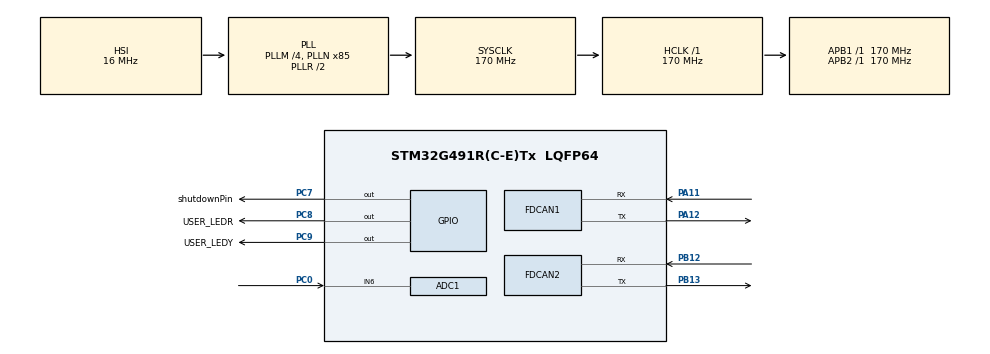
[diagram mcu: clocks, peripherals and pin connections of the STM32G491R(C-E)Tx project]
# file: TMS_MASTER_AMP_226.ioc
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ADC1.Channel-1\#ChannelRegularConversion=ADC_CHANNEL_6
ADC1.NbrOfConversionFlag=1
ADC1.OffsetNumber-1\#ChannelRegularConversion=ADC_OFFSET_NONE
ADC1.Rank-1\#ChannelRegularConversion=1
ADC1.SamplingTime-1\#ChannelRegularConversion=ADC_SAMPLETIME_247CYCLES_5
ADC1.master=1
Dma.ADC1.0.Direction=DMA_PERIPH_TO_MEMORY
Dma.ADC1.0.EventEnable=DISABLE
Dma.ADC1.0.Instance=DMA1_Channel1
Dma.ADC1.0.MemDataAlignment=DMA_MDATAALIGN_HALFWORD
Dma.ADC1.0.MemInc=DMA_MINC_ENABLE
Dma.ADC1.0.Mode=DMA_CIRCULAR
Dma.ADC1.0.PeriphDataAlignment=DMA_PDATAALIGN_HALFWORD
Dma.ADC1.0.PeriphInc=DMA_PINC_DISABLE
Dma.ADC1.0.Polarity=HAL_DMAMUX_REQ_GEN_RISING
Dma.ADC1.0.Priority=DMA_PRIORITY_LOW
Dma.ADC1.0.RequestNumber=1
Dma.ADC1.0.SignalID=NONE
Dma.ADC1.0.SyncEnable=DISABLE
Dma.ADC1.0.SyncPolarity=HAL_DMAMUX_SYNC_NO_EVENT
Dma.ADC1.0.SyncRequestNumber=1
Dma.ADC1.0.SyncSignalID=NONE
Dma.Request0=ADC1
FDCAN1.CalculateBaudRateNominal=499999
FDCAN1.CalculateTimeBitNominal=2000
FDCAN1.CalculateTimeQuantumNominal=58.82352941176471
FDCAN1.NominalPrescaler=10
FDCAN1.NominalTimeSeg1=26
FDCAN1.NominalTimeSeg2=7
FDCAN2.CalculateBaudRateNominal=499999
FDCAN2.CalculateTimeBitNominal=2000
FDCAN2.CalculateTimeQuantumNominal=58.82352941176471
FDCAN2.ExtFiltersNbr=1
FDCAN2.NominalPrescaler=10
FDCAN2.NominalTimeSeg1=26
FDCAN2.NominalTimeSeg2=7
FREERTOS.Tasks01=xSendCAN,24,128,xSendCANFunction,Default,NULL,Dynamic,NULL,NULL;xCheckComms,8,128,xCheckCommsFuncion,Default,NULL,Dynamic,NULL,NULL;xReadTemp,8,128,xReadTempFunction,Default,NULL,Dynamic,NULL,NULL
Mcu.Family=STM32G4
Mcu.Name=STM32G491R(C-E)Tx
Mcu.Package=LQFP64
NVIC.ADC1_2_IRQn=true\:5\:0\:false\:false\:true\:true\:true\:true\:true
NVIC.DMA1_Channel1_IRQn=true\:5\:0\:false\:false\:true\:true\:false\:true\:true
NVIC.FDCAN1_IT0_IRQn=true\:5\:0\:false\:false\:true\:true\:true\:true\:true
NVIC.FDCAN1_IT1_IRQn=true\:5\:0\:false\:false\:true\:true\:true\:true\:true
NVIC.FDCAN2_IT0_IRQn=true\:5\:0\:false\:false\:true\:true\:true\:true\:true
NVIC.FDCAN2_IT1_IRQn=true\:5\:0\:false\:false\:true\:true\:true\:true\:true
NVIC.PriorityGroup=NVIC_PRIORITYGROUP_4
NVIC.TIM7_IRQn=true\:15\:0\:false\:false\:true\:false\:false\:true\:true
NVIC.TimeBase=TIM7_IRQn
NVIC.TimeBaseIP=TIM7
PA11.Mode=FDCAN_Activate
PA11.Signal=FDCAN1_RX
PA12.Mode=FDCAN_Activate
PA12.Signal=FDCAN1_TX
PA13.GPIO_Label=T_SWDIO
PA13.Mode=Serial_Wire
PA13.Signal=SYS_JTMS-SWDIO
PA14.GPIO_Label=T_SWCLK
PA14.Mode=Serial_Wire
PA14.Signal=SYS_JTCK-SWCLK
PB12.Mode=FDCAN_Activate
PB12.Signal=FDCAN2_RX
PB13.Mode=FDCAN_Activate
PB13.Signal=FDCAN2_TX
PC0.Mode=IN6-Single-Ended
PC0.Signal=ADC1_IN6
PC7.GPIO_Label=shutdownPin
PC7.Signal=GPIO_Output
PC8.GPIO_Label=USER_LEDR
PC8.Signal=GPIO_Output
PC9.GPIO_Label=USER_LEDY
PC9.Signal=GPIO_Output
ProjectManager.HeapSize=0x200
ProjectManager.StackSize=0x400
ProjectManager.TargetToolchain=STM32CubeIDE
RCC.ADC12Freq_Value=170000000
RCC.ADC345Freq_Value=170000000
RCC.AHBFreq_Value=170000000
RCC.APB1Freq_Value=170000000
RCC.APB1TimFreq_Value=170000000
RCC.APB2Freq_Value=170000000
RCC.APB2TimFreq_Value=170000000
RCC.CortexFreq_Value=170000000
RCC.EXTERNAL_CLOCK_VALUE=12288000
RCC.HCLKFreq_Value=170000000
RCC.HSE_VALUE=24000000
RCC.HSI48_VALUE=48000000
RCC.HSI_VALUE=16000000
RCC.LSE_VALUE=32768
RCC.PLLM=RCC_PLLM_DIV4
RCC.PLLN=85
RCC.RTCClockSelection=RCC_RTCCLKSOURCE_LSE
RCC.SYSCLKFreq_VALUE=170000000
RCC.SYSCLKSource=RCC_SYSCLKSOURCE_PLLCLK
RCC.USBFreq_Value=48000000
RCC.VCOOutputFreq_Value=340000000
VP_FREERTOS_VS_CMSIS_V2.Mode=CMSIS_V2
VP_SYS_VS_DBSignals.Mode=DisableDeadBatterySignals
VP_SYS_VS_tim7.Mode=TIM7
board=NUCLEO-G491RE

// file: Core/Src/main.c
/* USER CODE BEGIN Header */
/**
  ******************************************************************************
  * @file           : main.c
  * @brief          : Main program body
  ******************************************************************************
  * @attention
  *
  * Copyright (c) 2025 STMicroelectronics.
  * All rights reserved.
  *
  * This software is licensed under terms that can be found in the LICENSE file
  * in the root directory of this software component.
  * If no LICENSE file comes with this software, it is provided AS-IS.
  *
  ******************************************************************************
  */
/* USER CODE END Header */
#include "main.h"
#include "cmsis_os.h"

/* USER CODE BEGIN Includes */
#include "can.h"
#include "errors.h"
#include "adc.h"
#include <stdbool.h>
#include "bms_temp_est.h"
#include <math.h>
#include <string.h>
/* USER CODE END Includes */

ADC_HandleTypeDef hadc1;
DMA_HandleTypeDef hdma_adc1;

FDCAN_HandleTypeDef hfdcan1;
FDCAN_HandleTypeDef hfdcan2;

/* Definitions for xSendCAN */
osThreadId_t xSendCANHandle;
const osThreadAttr_t xSendCAN_attributes = {
  .name = "xSendCAN",
  .priority = (osPriority_t) osPriorityNormal,
  .stack_size = 128 * 4
};
/* Definitions for xCheckComms */
osThreadId_t xCheckCommsHandle;
const osThreadAttr_t xCheckComms_attributes = {
  .name = "xCheckComms",
  .priority = (osPriority_t) osPriorityLow,
  .stack_size = 128 * 4
};
/* Definitions for xReadTemp */
osThreadId_t xReadTempHandle;
const osThreadAttr_t xReadTemp_attributes = {
  .name = "xReadTemp",
  .priority = (osPriority_t) osPriorityLow,
  .stack_size = 128 * 4
};
/* USER CODE BEGIN PV */
osMutexId_t tempBufferMutexHandle;
const osMutexAttr_t tempBufferMutex_attributes = {.name = "tempBufferMutex"};

uint8_t FDCAN1RxData[8]; //slaves
FDCAN_RxHeaderTypeDef FDCAN1RxHeader;
uint8_t FDCAN1TxData[8];
FDCAN_TxHeaderTypeDef FDCAN1TxHeader;

uint8_t FDCAN2RxData[8]; //slaves
FDCAN_RxHeaderTypeDef FDCAN2RxHeader;
uint8_t FDCAN2TxData[8];
FDCAN_TxHeaderTypeDef FDCAN2TxHeader;

CAN_RxMsg_t lastRx1Msg;
CAN_TxStatus_t lastTx1Status = CAN_TX_OK;

CAN_RxMsg_t lastRx2Msg;
CAN_TxStatus_t lastTx2Status = CAN_TX_OK;

extern volatile int tmsErrorCode;

extern float slaveTempBuffers[numberOfSlaves][thermistorsRecieved];

extern uint32_t slaveLastMessageTicks[numberOfSlaves];

float maxSentTemps[4] = {0};

uint32_t rawAdcBuffer[numberOfThermistors] = {0};
extern uint16_t filteredAdcBuffer[numberOfThermistors];
float voltageBuffer[numberOfThermistors] = {0}, tempBuffer[numberOfThermistors] = {0};

float bmsVoltage, bmsCurrent;
float cellMaxVoltage, cellMinVoltage, cellAvgVoltage;
uint32_t bmsProtectionFlags;
bool bmsSafetyFlag;
int bmsCANError, chargerSOC;
bmsTempEstState cellTempEstimators[40];
float debugEstimatedTemps[40] = {0};
float emusCellVolts[40] = {0};
/* USER CODE END PV */

void SystemClock_Config(void);
static void MX_GPIO_Init(void);
static void MX_DMA_Init(void);
static void MX_FDCAN1_Init(void);
static void MX_FDCAN2_Init(void);
static void MX_ADC1_Init(void);
void xSendCANFunction(void *argument);
void xCheckCommsFuncion(void *argument);
void xReadTempFunction(void *argument);

/* USER CODE BEGIN PFP */
void HAL_FDCAN_RxFifo0Callback(FDCAN_HandleTypeDef *hfdcan, uint32_t RxFifo0ITs);
void HAL_FDCAN_RxFifo1Callback(FDCAN_HandleTypeDef *hfdcan, uint32_t RxFifo1ITs);
void HAL_ADC_ConvCpltCallback(ADC_HandleTypeDef *hadc);
/* USER CODE END PFP */

int main(void)
{

  /* MCU Configuration--------------------------------------------------------*/

  /* Reset of all peripherals, Initializes the Flash interface and the Systick. */
  HAL_Init();

  /* Configure the system clock */
  SystemClock_Config();

  /* Initialize all configured peripherals */
  MX_GPIO_Init();
  MX_DMA_Init();
  MX_FDCAN1_Init();
  MX_FDCAN2_Init();
  /* eu sou gay */
  MX_ADC1_Init();
  /* USER CODE BEGIN 2 */
  for (int c = 0; c < 40; c++) {
      bmsTempEstInit(&cellTempEstimators[c]);
  }
  HAL_GPIO_WritePin(GPIOC, GPIO_PIN_7, RESET);

  /* USER CODE END 2 */

  /* Init scheduler */
  osKernelInitialize();

  /* USER CODE BEGIN RTOS_MUTEX */
  /* add mutexes, ... */
  tempBufferMutexHandle = osMutexNew(&tempBufferMutex_attributes);
  /* USER CODE END RTOS_MUTEX */

  /* Create the thread(s) */
  /* creation of xSendCAN */
  xSendCANHandle = osThreadNew(xSendCANFunction, NULL, &xSendCAN_attributes);

  /* creation of xCheckComms */
  xCheckCommsHandle = osThreadNew(xCheckCommsFuncion, NULL, &xCheckComms_attributes);

  /* creation of xReadTemp */
  xReadTempHandle = osThreadNew(xReadTempFunction, NULL, &xReadTemp_attributes);

  /* Start scheduler */
  osKernelStart();

  /* We should never get here as control is now taken by the scheduler */

  /* Infinite loop */
  while (1)
  {

  }
}

void SystemClock_Config(void)
{
  RCC_OscInitTypeDef RCC_OscInitStruct = {0};
  RCC_ClkInitTypeDef RCC_ClkInitStruct = {0};

  /** Configure the main internal regulator output voltage
  */
  HAL_PWREx_ControlVoltageScaling(PWR_REGULATOR_VOLTAGE_SCALE1_BOOST);

  /** Initializes the RCC Oscillators according to the specified parameters
  * in the RCC_OscInitTypeDef structure.
  */
  RCC_OscInitStruct.OscillatorType = RCC_OSCILLATORTYPE_HSI;
  RCC_OscInitStruct.HSIState = RCC_HSI_ON;
  RCC_OscInitStruct.HSICalibrationValue = RCC_HSICALIBRATION_DEFAULT;
  RCC_OscInitStruct.PLL.PLLState = RCC_PLL_ON;
  RCC_OscInitStruct.PLL.PLLSource = RCC_PLLSOURCE_HSI;
  RCC_OscInitStruct.PLL.PLLM = RCC_PLLM_DIV4;
  RCC_OscInitStruct.PLL.PLLN = 85;
  RCC_OscInitStruct.PLL.PLLP = RCC_PLLP_DIV2;
  RCC_OscInitStruct.PLL.PLLQ = RCC_PLLQ_DIV2;
  RCC_OscInitStruct.PLL.PLLR = RCC_PLLR_DIV2;
  if (HAL_RCC_OscConfig(&RCC_OscInitStruct) != HAL_OK)
  {
    Error_Handler();
  }

  /** Initializes the CPU, AHB and APB buses clocks
  */
  RCC_ClkInitStruct.ClockType = RCC_CLOCKTYPE_HCLK|RCC_CLOCKTYPE_SYSCLK
                              |RCC_CLOCKTYPE_PCLK1|RCC_CLOCKTYPE_PCLK2;
  RCC_ClkInitStruct.SYSCLKSource = RCC_SYSCLKSOURCE_PLLCLK;
  RCC_ClkInitStruct.AHBCLKDivider = RCC_SYSCLK_DIV1;
  RCC_ClkInitStruct.APB1CLKDivider = RCC_HCLK_DIV1;
  RCC_ClkInitStruct.APB2CLKDivider = RCC_HCLK_DIV1;

  if (HAL_RCC_ClockConfig(&RCC_ClkInitStruct, FLASH_LATENCY_4) != HAL_OK)
  {
    Error_Handler();
  }
}

static void MX_ADC1_Init(void)
{

  ADC_MultiModeTypeDef multimode = {0};
  ADC_ChannelConfTypeDef sConfig = {0};

  /** Common config
  */
  hadc1.Instance = ADC1;
  hadc1.Init.ClockPrescaler = ADC_CLOCK_SYNC_PCLK_DIV4;
  hadc1.Init.Resolution = ADC_RESOLUTION_12B;
  hadc1.Init.DataAlign = ADC_DATAALIGN_RIGHT;
  hadc1.Init.GainCompensation = 0;
  hadc1.Init.ScanConvMode = ADC_SCAN_DISABLE;
  hadc1.Init.EOCSelection = ADC_EOC_SINGLE_CONV;
  hadc1.Init.LowPowerAutoWait = DISABLE;
  hadc1.Init.ContinuousConvMode = DISABLE;
  hadc1.Init.NbrOfConversion = 1;
  hadc1.Init.DiscontinuousConvMode = DISABLE;
  hadc1.Init.ExternalTrigConv = ADC_SOFTWARE_START;
  hadc1.Init.ExternalTrigConvEdge = ADC_EXTERNALTRIGCONVEDGE_NONE;
  hadc1.Init.DMAContinuousRequests = DISABLE;
  hadc1.Init.Overrun = ADC_OVR_DATA_PRESERVED;
  hadc1.Init.OversamplingMode = DISABLE;
  if (HAL_ADC_Init(&hadc1) != HAL_OK)
  {
    Error_Handler();
  }

  /** Configure the ADC multi-mode
  */
  multimode.Mode = ADC_MODE_INDEPENDENT;
  if (HAL_ADCEx_MultiModeConfigChannel(&hadc1, &multimode) != HAL_OK)
  {
    Error_Handler();
  }

  /** Configure Regular Channel
  */
  sConfig.Channel = ADC_CHANNEL_6;
  sConfig.Rank = ADC_REGULAR_RANK_1;
  sConfig.SamplingTime = ADC_SAMPLETIME_247CYCLES_5;
  sConfig.SingleDiff = ADC_SINGLE_ENDED;
  sConfig.OffsetNumber = ADC_OFFSET_NONE;
  sConfig.Offset = 0;
  if (HAL_ADC_ConfigChannel(&hadc1, &sConfig) != HAL_OK)
  {
    Error_Handler();
  }

}

static void MX_FDCAN1_Init(void)
{

  hfdcan1.Instance = FDCAN1;
  hfdcan1.Init.ClockDivider = FDCAN_CLOCK_DIV1;
  hfdcan1.Init.FrameFormat = FDCAN_FRAME_CLASSIC;
  hfdcan1.Init.Mode = FDCAN_MODE_NORMAL;
  hfdcan1.Init.AutoRetransmission = DISABLE;
  hfdcan1.Init.TransmitPause = DISABLE;
  hfdcan1.Init.ProtocolException = DISABLE;
  hfdcan1.Init.NominalPrescaler = 10;
  hfdcan1.Init.NominalSyncJumpWidth = 1;
  hfdcan1.Init.NominalTimeSeg1 = 26;
  hfdcan1.Init.NominalTimeSeg2 = 7;
  hfdcan1.Init.DataPrescaler = 1;
  hfdcan1.Init.DataSyncJumpWidth = 1;
  hfdcan1.Init.DataTimeSeg1 = 1;
  hfdcan1.Init.DataTimeSeg2 = 1;
  hfdcan1.Init.StdFiltersNbr = 0;
  hfdcan1.Init.ExtFiltersNbr = 0;
  hfdcan1.Init.TxFifoQueueMode = FDCAN_TX_FIFO_OPERATION;
  if (HAL_FDCAN_Init(&hfdcan1) != HAL_OK)
  {
    Error_Handler();
  }
  /* USER CODE BEGIN FDCAN1_Init 2 */

  FDCAN_FilterTypeDef sFilterConfig;

  sFilterConfig.IdType = FDCAN_STANDARD_ID;
  sFilterConfig.FilterIndex = 0;
  sFilterConfig.FilterType = FDCAN_FILTER_MASK;
  sFilterConfig.FilterConfig = FDCAN_FILTER_TO_RXFIFO0;
  sFilterConfig.FilterID1 = 0;
  sFilterConfig.FilterID2 = 0;

  if (HAL_FDCAN_ConfigFilter(&hfdcan1, &sFilterConfig) != HAL_OK) {
	  Error_Handler();
  }

  HAL_FDCAN_ActivateNotification(&hfdcan1, FDCAN_IT_RX_FIFO0_NEW_MESSAGE, 0);
  HAL_FDCAN_Start(&hfdcan1);

#ifdef testLoopbackCAN1
  FDCAN1TxHeader.FDFormat = FDCAN_CLASSIC_CAN;
  FDCAN1TxHeader.IdType = FDCAN_STANDARD_ID;
  FDCAN1TxHeader.BitRateSwitch = FDCAN_BRS_OFF;
#endif
  /* USER CODE END FDCAN1_Init 2 */

}

static void MX_FDCAN2_Init(void)
{

  hfdcan2.Instance = FDCAN2;
  hfdcan2.Init.ClockDivider = FDCAN_CLOCK_DIV1;
  hfdcan2.Init.FrameFormat = FDCAN_FRAME_CLASSIC;
  hfdcan2.Init.Mode = FDCAN_MODE_NORMAL;
  hfdcan2.Init.AutoRetransmission = DISABLE;
  hfdcan2.Init.TransmitPause = DISABLE;
  hfdcan2.Init.ProtocolException = DISABLE;
  hfdcan2.Init.NominalPrescaler = 10;
  hfdcan2.Init.NominalSyncJumpWidth = 1;
  hfdcan2.Init.NominalTimeSeg1 = 26;
  hfdcan2.Init.NominalTimeSeg2 = 7;
  hfdcan2.Init.DataPrescaler = 1;
  hfdcan2.Init.DataSyncJumpWidth = 1;
  hfdcan2.Init.DataTimeSeg1 = 1;
  hfdcan2.Init.DataTimeSeg2 = 1;
  hfdcan2.Init.StdFiltersNbr = 0;
  hfdcan2.Init.ExtFiltersNbr = 1;
  hfdcan2.Init.TxFifoQueueMode = FDCAN_TX_FIFO_OPERATION;
  if (HAL_FDCAN_Init(&hfdcan2) != HAL_OK)
  {
    Error_Handler();
  }
  /* USER CODE BEGIN FDCAN2_Init 2 */

  FDCAN_FilterTypeDef sFilterConfig2;

  sFilterConfig2.IdType = FDCAN_EXTENDED_ID;
  sFilterConfig2.FilterIndex = 0;
  sFilterConfig2.FilterType = FDCAN_FILTER_MASK;
  sFilterConfig2.FilterConfig = FDCAN_FILTER_TO_RXFIFO1;
  sFilterConfig2.FilterID1 = 0;
  sFilterConfig2.FilterID2 = 0;

  if (HAL_FDCAN_ConfigFilter(&hfdcan2, &sFilterConfig2) != HAL_OK) {
	  Error_Handler();
  }

//  FDCAN_FilterTypeDef sStdFilterConfig2;
//
//  sStdFilterConfig2.IdType = FDCAN_STANDARD_ID;
//  sStdFilterConfig2.FilterIndex = 0;
//  sStdFilterConfig2.FilterType = FDCAN_FILTER_MASK;
//  sStdFilterConfig2.FilterConfig = FDCAN_FILTER_TO_RXFIFO1;
//  sStdFilterConfig2.FilterID1 = 0;
//  sStdFilterConfig2.FilterID2 = 0;
//
//  if (HAL_FDCAN_ConfigFilter(&hfdcan2, &sStdFilterConfig2) != HAL_OK) {
//	  Error_Handler();
//  }

  HAL_FDCAN_ActivateNotification(&hfdcan2, FDCAN_IT_RX_FIFO1_NEW_MESSAGE, 0);

  HAL_FDCAN_Start(&hfdcan2);

  /* Note: FDCAN2TxHeader global no longer used — every TX site builds its own
   * local FDCAN_TxHeaderTypeDef (see can.c::initCan2TxHeader + Error_Handler). */
  /* USER CODE END FDCAN2_Init 2 */

}

static void MX_DMA_Init(void)
{

  /* DMA controller clock enable */
  __HAL_RCC_DMAMUX1_CLK_ENABLE();
  __HAL_RCC_DMA1_CLK_ENABLE();

  /* DMA interrupt init */
  /* DMA1_Channel1_IRQn interrupt configuration */
  HAL_NVIC_SetPriority(DMA1_Channel1_IRQn, 5, 0);
  HAL_NVIC_EnableIRQ(DMA1_Channel1_IRQn);

}

static void MX_GPIO_Init(void)
{
  GPIO_InitTypeDef GPIO_InitStruct = {0};

  /* GPIO Ports Clock Enable */
  __HAL_RCC_GPIOC_CLK_ENABLE();
  __HAL_RCC_GPIOB_CLK_ENABLE();
  __HAL_RCC_GPIOA_CLK_ENABLE();

  /*Configure GPIO pin Output Level */
  HAL_GPIO_WritePin(GPIOC, shutdownPin_Pin|USER_LEDR_Pin|USER_LEDY_Pin, GPIO_PIN_RESET);

  /*Configure GPIO pins : shutdownPin_Pin USER_LEDR_Pin USER_LEDY_Pin */
  GPIO_InitStruct.Pin = shutdownPin_Pin|USER_LEDR_Pin|USER_LEDY_Pin;
  GPIO_InitStruct.Mode = GPIO_MODE_OUTPUT_PP;
  GPIO_InitStruct.Pull = GPIO_NOPULL;
  GPIO_InitStruct.Speed = GPIO_SPEED_FREQ_LOW;
  HAL_GPIO_Init(GPIOC, &GPIO_InitStruct);

}

/* USER CODE BEGIN 4 */
/**
 * @brief  Callback for FDCAN1 (Slave Network) RX FIFO 0.
 * Directly processes incoming standard ID messages from slaves.
 */
void HAL_FDCAN_RxFifo0Callback(FDCAN_HandleTypeDef *hfdcan, uint32_t RxFifo0ITs) {
	if (hfdcan->Instance == FDCAN1) {
		if ((RxFifo0ITs & FDCAN_IT_RX_FIFO0_NEW_MESSAGE) != RESET) {
			/* Retrieve message from hardware FIFO */
			if (HAL_FDCAN_GetRxMessage(hfdcan, FDCAN_RX_FIFO0, &FDCAN1RxHeader,
					FDCAN1RxData) == HAL_OK) {
				receiveCANFromSlaves(); // Process slave data immediately
			}
		}
	}
}

/**
 * @brief  Callback for FDCAN2 (General Bus) RX FIFO 1.
 * Processes incoming extended ID messages for telemetry and control.
 */
void HAL_FDCAN_RxFifo1Callback(FDCAN_HandleTypeDef *hfdcan, uint32_t RxFifo1ITs) {
	if (hfdcan->Instance == FDCAN2) {
		if ((RxFifo1ITs & FDCAN_IT_RX_FIFO1_NEW_MESSAGE) != RESET) {
			/* Retrieve message from hardware FIFO */
			if (HAL_FDCAN_GetRxMessage(hfdcan, FDCAN_RX_FIFO1, &FDCAN2RxHeader,
					FDCAN2RxData) == HAL_OK) {
				receiveCANFromGeral(); // Update global telemetry state
			}
		}
	}
}

/**
 * @brief  Callback for ADC DMA completion.
 * Triggers the xReadTemp task to process simulations if enabled.
 */
void HAL_ADC_ConvCpltCallback(ADC_HandleTypeDef *hadc){
#ifdef simulateSlave
	BaseType_t xHigherPriorityTaskWoken = pdFALSE;
	vTaskNotifyGiveFromISR(xReadTempHandle, &xHigherPriorityTaskWoken);
	portYIELD_FROM_ISR(xHigherPriorityTaskWoken);
#endif
}
/* USER CODE END 4 */

void xSendCANFunction(void *argument)
{
  /* USER CODE BEGIN 5 */
  static uint8_t estOvertempCounter = 0;

  /* This task manages periodic status transmission and fault checking (10Hz) */
  for(;;)
  {
	  memset(maxSentTemps, 0, sizeof(maxSentTemps));
	  bool anyEstOvertempThisCycle = false;

	  for(int m = 0; m < 4; m++){
		  float ntc_max = 0.0f;
		  // Coleta temperatura max física lida do slave caso ele exista e esteja online
		  taskENTER_CRITICAL();
		  bool local_online = slaveOnline[m];
		  float local_slaveTemps[thermistorsRecieved];
		  if(local_online) memcpy(local_slaveTemps, slaveTempBuffers[m], sizeof(local_slaveTemps));
		  taskEXIT_CRITICAL();
		  if(m < numberOfSlaves && local_online){
		  	  ntc_max = findMaxVal(local_slaveTemps);
		  }

		  /* Fault injection (scrutineering): força ntc_max ANTES do check de overtemp.
		   * Arme via Live Expressions: simulateHighTemp = 1 (true). Funciona mesmo
		   * com slave offline. Flui pra maxSentTemps -> aparece no CAN2 também. */
		  injectFault(&ntc_max);

		  // Coleta a estimada via Arrhenius-R_DC (Pega a pior dentre as 10 células do módulo)
		  float est_module_max = 0.0f;
		  for(int subCell = 0; subCell < 10; subCell++){
		      int c_idx = (m * 10) + subCell;
		      if (bmsTempEstIsValid(&cellTempEstimators[c_idx])) {
			      float cTemp = bmsTempEstGetTemp(&cellTempEstimators[c_idx]);
			      if (cTemp > est_module_max) {
			          est_module_max = cTemp;
			      }
		      }
		  }

		  // Funde as temperaturas extraindo a pior possível daquele módulo
		  maxSentTemps[m] = fmaxf(ntc_max, est_module_max);

		  // Verificação Isolada de Over-Temperature - NTC dispara instantaneamente
		  if(HAL_GetTick() > 3000){
		  if(ntc_max > maxTemperatureThresholdNTC) {
			  taskENTER_CRITICAL();
			  tmsErrorCode |= overTemperatureFault;
			  taskEXIT_CRITICAL();
			  HAL_GPIO_WritePin(GPIOC, GPIO_PIN_7, SET);
			  HAL_GPIO_WritePin(GPIOC, GPIO_PIN_9, SET);
//			  Error_Handler(); // Trigger Safety Shutdown
		  }
		  }
		  // Levanta a flag temporária se a estimada violar o teto neste pulso
		  if(est_module_max > maxTemperatureThresholdEst) {
		      anyEstOvertempThisCycle = true;
		  }
	  }

	  // Avalia o debounce (Filtro contra falsas medições estocásticas do logaritmo)
	  if(anyEstOvertempThisCycle) {
          estOvertempCounter++;
          if (estOvertempCounter >= 10) { // Persistiu quente por mais de 10 leituras contínuas (1 segundo)
              taskENTER_CRITICAL();
              tmsErrorCode |= overTemperatureFaultEst;
              taskEXIT_CRITICAL();
              /* Overtemp ESTIMADA: só sinaliza a flag, SEM halt (recuperável). */
          }
      } else {
          estOvertempCounter = 0; // Se a anomalia esfriar/desaparecer antes de 1s, zera o contador
          taskENTER_CRITICAL();
          tmsErrorCode &= ~overTemperatureFaultEst; // limpa sozinho ao normalizar
          taskEXIT_CRITICAL();
      }

	  /* Send Master status and maximum temperatures to CAN2 */
	  sendMasterInfoToCAN(maxSentTemps, tmsErrorCode);

#ifdef testLoopbackCAN1
	  /* Generate artificial slave traffic if loopback testing is enabled */
	  simulateSlaveBurst(0, 0);
#endif

#ifdef testLoopbackCAN2
	  /* Generate artificial inverter traffic if loopback testing is enabled */
	  simulateInverterBurst();
#endif

	  /* (fault injection movido pra dentro do loop, sobre ntc_max, ANTES do
	   * check de overtemp — ver injectFault(&ntc_max) acima.) */

	  /* Visual heartbeat for OS health */
	  HAL_GPIO_TogglePin(GPIOC, USER_LEDR_Pin);
    osDelay(100);
  }
  /* USER CODE END 5 */
}

void xCheckCommsFuncion(void *argument)
{
  /* USER CODE BEGIN xCheckCommsFuncion */
	/* This task monitors the heartbeat/communication state of all slaves (100Hz)
     * e também atua como base de tempo rápida para estimar a Temperatura Interna. */
	static uint32_t atualTick = 0;
  for(;;)
  {
	  atualTick = HAL_GetTick();

	  /* Atualiza o SOC em base decimal (0.0 a 1.0) usando o dado numérico bruto (ex: 0 a 100%) */
	  // Usa clamp logico entre 0.0 e 1.0
	  float s_soc = ((float)chargerSOC) / 100.0f;
	  if(s_soc < 0.0f) s_soc = 0.0f;
	  if(s_soc > 1.0f) s_soc = 1.0f;

	  for(int c = 0; c < 40; c++){
		  bmsTempEstSetSoc(&cellTempEstimators[c], s_soc);
	  }

	  /* Alimenta o algoritmo (espera Tensao da Celula e Corrente da Célula)
	   * O Pack da Ampera 226 possui 8 paralelos. O bmsCurrent global precisa ser
	   * fracionado (bmsCurrent / 8.0f) para o estimador processar a calibração de uma célula unitária P28A.
	   * Módulo da corrente: estima igual em descarga e regen (o sinal se cancela
	   * no R_DC = |dV/dI| de qualquer forma). Obs.: degrau que cruza o zero
	   * (regen<->descarga simétrico) deixa de ser visto como pulso.
	   */
	  taskENTER_CRITICAL();
	  float local_bmsCurrent = bmsCurrent;
	  float local_avgVolt    = cellAvgVoltage;   /* média do pack (CANSplitterID2) */
	  taskEXIT_CRITICAL();

	  float cellCurrent = fabsf(local_bmsCurrent) / 8.0f;

	  /* Todas as estimadas usam a MESMA tensão (average) e corrente: a média é
	   * menos ruidosa que a leitura individual e o dV do degrau é coletivo. */
	  for(int c = 0; c < 40; c++){
		  // Filtro profilático, não injeta zero-volts
		  if(local_avgVolt > 1.0f) {
		      bmsTempEstFeedSample(&cellTempEstimators[c], cellCurrent, local_avgVolt);
		  }

		  if(bmsTempEstIsValid(&cellTempEstimators[c])) {
		      debugEstimatedTemps[c] = bmsTempEstGetTemp(&cellTempEstimators[c]);
		  } else {
		      debugEstimatedTemps[c] = 25.0f; // Mock warm state
		  }
	  }

	  /* Verify that each slave has sent data within the last 2 seconds */
	  taskENTER_CRITICAL();
	  tmsErrorCode &= ~commFault;
	  taskEXIT_CRITICAL();
	  for(int i = 0; i < numberOfSlaves; i++){
		  if(atualTick - slaveLastMessageTicks[i] > 2000){
			  taskENTER_CRITICAL();
			  tmsErrorCode |= commFault;
			  /* Slave calado: marca offline para o envio parar de usar a
			   * temperatura VELHA que ficou no slaveTempBuffers. Sem isto o
			   * master seguia transmitindo o ultimo valor como se fosse atual. */
			  slaveOnline[i] = false;
			  HAL_GPIO_WritePin(GPIOC, GPIO_PIN_7, SET);
			  HAL_GPIO_WritePin(GPIOC, GPIO_PIN_9, SET);
			  taskEXIT_CRITICAL();
		  }
	  }
    osDelay(10); // Check frequency: 100Hz
  }
  /* USER CODE END xCheckCommsFuncion */
}

void xReadTempFunction(void *argument)
{
  /* USER CODE BEGIN xReadTempFunction */
	/* This task simulates external ADC readings if simulateSlave is enabled */
	static bool filtersInitialized = false;

	for(;;)
	{
#ifdef simulateSlave
		/* Initiate high-speed ADC sampling via DMA */
		HAL_ADC_Start_DMA(&hadc1, (uint32_t *)rawAdcBuffer, numberOfThermistors);

		/* Wait for DMA completion signal from ISR */
		ulTaskNotifyTake(pdTRUE, portMAX_DELAY);

		HAL_ADC_Stop_DMA(&hadc1);

		/* Ensure DSP filter buffers are seeded on first run */
		if (!filtersInitialized) {
			initTemperatureFilters(rawAdcBuffer);
			filtersInitialized = true;
		}

		/* Perform signal processing for all 16 simulated channels */
		bool anyThermFault = false;
		for (int i = 0; i < numberOfThermistors; i++) {

			/* Step 1: Median Filter (Window 3) — Spikes elimination */
			uint16_t medianADC = applyMedianFilter(rawAdcBuffer[i], i);

			/* Step 2: IIR Filter (alpha=1/8) — Signal smoothing */
			filteredAdcBuffer[i] = applyIIRFilter(medianADC, i);

			/* Step 3: Diagnostic - verify NTC integrity (Open/Short) */
			readStatus = checkThermistorConnection(filteredAdcBuffer[i]);

			/* Step 4: Conversion to thermal units (Celsius) */
			if(readStatus == OK){
				if (osMutexAcquire(tempBufferMutexHandle, osWaitForever) == osOK) {
					tempBuffer[i] = convertVoltageToTemperature(
							convertBitsToVoltage(filteredAdcBuffer[i]));
					osMutexRelease(tempBufferMutexHandle);
				}
			}
			else{
				/* Falha de leitura de sensor: marca, mas NÃO faz halt (recuperável). */
				anyThermFault = true;
			}
		}
		/* thermistorFault reflete o ciclo: seta se algum canal falhou, volta a 0
		 * sozinho quando todos lerem OK (recupera sem reset). */
		thermistorFault = anyThermFault ? 1 : 0;
		if (anyThermFault) {
			sendReadingErrorInfoIntoCAN();
		}
#endif
		/* Sampling rate: 10Hz */
		osDelay(100);
	}
  /* USER CODE END xReadTempFunction */
}

void HAL_TIM_PeriodElapsedCallback(TIM_HandleTypeDef *htim)
{
  if (htim->Instance == TIM7)
  {
    HAL_IncTick();
  }
}

void Error_Handler(void)
{
  /* USER CODE BEGIN Error_Handler_Debug */
	HAL_GPIO_WritePin(GPIOC, GPIO_PIN_8, SET);
	HAL_GPIO_WritePin(GPIOC, GPIO_PIN_9, SET);
	/* Emergency frame inline — local header avoids race with any other TX site.
	 * Populate ALL fields explicitly (don't rely on zero-init coincidence). */
	FDCAN_TxHeaderTypeDef txHeader;
	uint8_t emergencyData[8] = {0};
	emergencyData[0] = (uint8_t)tmsErrorCode;

	txHeader.Identifier          = idMasterCAN2;
	txHeader.IdType              = FDCAN_EXTENDED_ID;
	txHeader.TxFrameType         = FDCAN_DATA_FRAME;
	txHeader.DataLength          = FDCAN_DLC_BYTES_8;
	txHeader.ErrorStateIndicator = FDCAN_ESI_ACTIVE;
	txHeader.BitRateSwitch       = FDCAN_BRS_OFF;
	txHeader.FDFormat            = FDCAN_CLASSIC_CAN;
	txHeader.TxEventFifoControl  = FDCAN_NO_TX_EVENTS;
	txHeader.MessageMarker       = 0;

	/* Retry the enqueue (FIFO may be full — that's likely the very reason we're here).
	 * Busy-wait instead of osDelay: RTOS may already be in a critical section. */
	for (uint32_t retry = 0; retry < 100; retry++) {
		if (HAL_FDCAN_AddMessageToTxFifoQ(&hfdcan2, &txHeader, emergencyData) == HAL_OK) break;
		for (volatile int i = 0; i < 17000; i++);  /* ~100 µs at 170 MHz */
	}

	/* Drain wait: give the periph up to ~50 ms to push the emergency frame onto the wire.
	 * FDCAN runs autonomously even with IRQs disabled — but we want the frame to actually leave
	 * before we halt the core (external resets/WDTs may strike). */
	for (uint32_t waited = 0; waited < 500; waited++) {
		if (HAL_FDCAN_GetTxFifoFreeLevel(&hfdcan2) >= 3) break;  /* G4 TX FIFO has 3 slots */
		for (volatile int i = 0; i < 17000; i++);  /* ~100 µs */
	}

  __disable_irq();
  while (1)
  {
  }
  /* USER CODE END Error_Handler_Debug */
}
